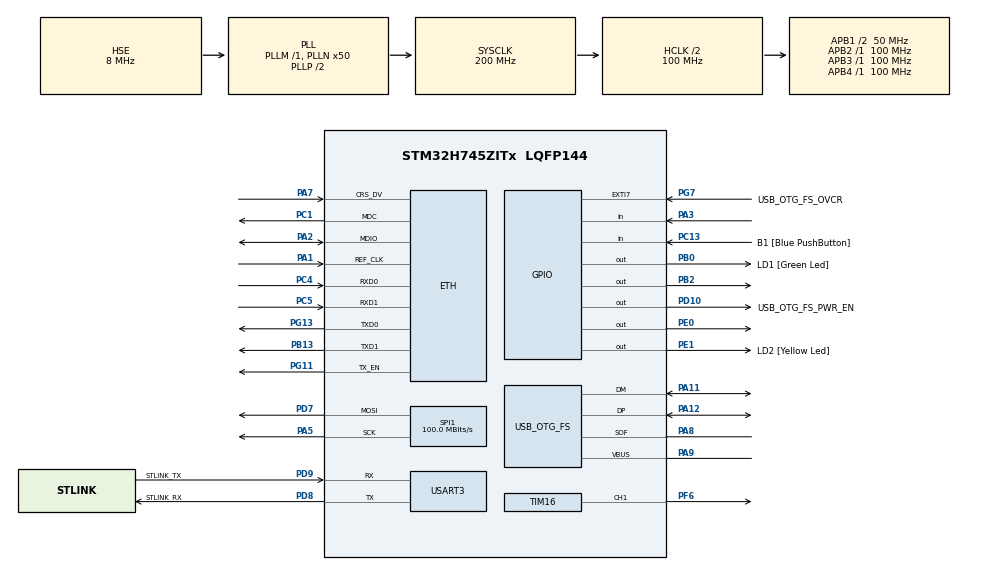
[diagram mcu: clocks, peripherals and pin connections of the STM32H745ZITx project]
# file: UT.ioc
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CortexM4.IPs=FATFS_M4\:I,FREERTOS_M4\:I,IWDG2\:I,RCC,WWDG2\:I,DMA,BDMA,MDMA,NVIC2\:I,USART3,ETH,DEBUG,USB_DEVICE_M4\:I,USB_HOST_M4\:I,PDM2PCM_M4\:I,PWR,RESMGR_UTILITY,SYS_M4\:I,CORTEX_M4\:I,OPENAMP_M4\:I,VREFBUF,GPIO
CortexM7.IPs=FATFS_M7\:I,FREERTOS_M7\:I,IWDG1\:I,RCC\:I,WWDG1\:I,DMA\:I,BDMA\:I,MDMA\:I,NVIC1\:I,SYS\:I,USART3\:I,USB_OTG_FS\:I,ETH\:I,CORTEX_M7\:I,DEBUG\:I,USB_DEVICE_M7\:I,USB_HOST_M7\:I,PDM2PCM_M7\:I,PWR\:I,RESMGR_UTILITY\:I,OPENAMP_M7\:I,VREFBUF\:I,GPIO\:I,TIM16\:I,CRC\:I,SPI1\:I
ETH.MediaInterface=HAL_ETH_RMII_MODE
Mcu.Family=STM32H7
Mcu.Name=STM32H745ZITx
Mcu.Package=LQFP144
NVIC1.PriorityGroup=NVIC_PRIORITYGROUP_4
NVIC1.TIM16_IRQn=true\:0\:0\:false\:false\:true\:true\:true\:true
NVIC2.PriorityGroup=NVIC_PRIORITYGROUP_4
PA1.Mode=RMII
PA1.PinAttribute=CortexM7
PA1.Signal=ETH_REF_CLK
PA11.Mode=Device_Only
PA11.PinAttribute=CortexM7
PA11.Signal=USB_OTG_FS_DM
PA12.Mode=Device_Only
PA12.PinAttribute=CortexM7
PA12.Signal=USB_OTG_FS_DP
PA2.Mode=RMII
PA2.PinAttribute=CortexM7
PA2.Signal=ETH_MDIO
PA3.PinAttribute=Free
PA3.Signal=GPIO_Input
PA5.Mode=TX_Only_Simplex_Unidirect_Master
PA5.PinAttribute=CortexM7
PA5.Signal=SPI1_SCK
PA7.Mode=RMII
PA7.PinAttribute=CortexM7
PA7.Signal=ETH_CRS_DV
PA8.Mode=Activate_SOF_FS
PA8.PinAttribute=CortexM7
PA8.Signal=USB_OTG_FS_SOF
PA9.Mode=Activate_VBUS
PA9.PinAttribute=CortexM7
PA9.Signal=USB_OTG_FS_VBUS
PB0.GPIO_Label=LD1 [Green Led]
PB0.PinAttribute=Free
PB0.Signal=GPIO_Output
PB13.Mode=RMII
PB13.PinAttribute=CortexM7
PB13.Signal=ETH_TXD1
PB14.Signal=S_TIM12_CH1
PB2.PinAttribute=Free
PB2.Signal=GPIO_Output
PC1.Mode=RMII
PC1.PinAttribute=CortexM7
PC1.Signal=ETH_MDC
PC13.GPIO_Label=B1 [Blue PushButton]
PC13.PinAttribute=Free
PC13.Signal=GPIO_Input
PC14-OSC32_IN\ (OSC32_IN).Mode=LSE-External-Oscillator
PC14-OSC32_IN\ (OSC32_IN).PinAttribute=CortexM7
PC14-OSC32_IN\ (OSC32_IN).Signal=RCC_OSC32_IN
PC15-OSC32_OUT\ (OSC32_OUT).Mode=LSE-External-Oscillator
PC15-OSC32_OUT\ (OSC32_OUT).PinAttribute=CortexM7
PC15-OSC32_OUT\ (OSC32_OUT).Signal=RCC_OSC32_OUT
PC4.Mode=RMII
PC4.PinAttribute=CortexM7
PC4.Signal=ETH_RXD0
PC5.Mode=RMII
PC5.PinAttribute=CortexM7
PC5.Signal=ETH_RXD1
PD10.GPIO_Label=USB_OTG_FS_PWR_EN
PD10.PinAttribute=Free
PD10.Signal=GPIO_Output
PD7.Mode=TX_Only_Simplex_Unidirect_Master
PD7.PinAttribute=CortexM7
PD7.Signal=SPI1_MOSI
PD8.GPIO_Label=STLINK_RX
PD8.Mode=Asynchronous
PD8.PinAttribute=CortexM7
PD8.Signal=USART3_TX
PD9.GPIO_Label=STLINK_TX
PD9.Mode=Asynchronous
PD9.PinAttribute=CortexM7
PD9.Signal=USART3_RX
PE0.PinAttribute=Free
PE0.Signal=GPIO_Output
PE1.GPIO_Label=LD2 [Yellow Led]
PE1.PinAttribute=Free
PE1.Signal=GPIO_Output
PF6.PinAttribute=CortexM7
PF6.Signal=S_TIM16_CH1
PG11.Mode=RMII
PG11.PinAttribute=CortexM7
PG11.Signal=ETH_TX_EN
PG13.Mode=RMII
PG13.PinAttribute=CortexM7
PG13.Signal=ETH_TXD0
PG7.GPIO_Label=USB_OTG_FS_OVCR
PG7.PinAttribute=Free
PG7.Signal=GPXTI7
PH0-OSC_IN\ (PH0).Mode=HSE-External-Clock-Source
PH0-OSC_IN\ (PH0).PinAttribute=CortexM7
PH0-OSC_IN\ (PH0).Signal=RCC_OSC_IN
PH1-OSC_OUT\ (PH1).PinAttribute=CortexM7
PH1-OSC_OUT\ (PH1).Signal=RCC_OSC_OUT
ProjectManager.HeapSize=M4-0x200,M7-0x200
ProjectManager.StackSize=M4-0x400,M7-0x400
ProjectManager.TargetToolchain=STM32CubeIDE
RCC.ADCFreq_Value=16125000
RCC.APB1Freq_Value=50000000
RCC.APB2Freq_Value=100000000
RCC.APB3Freq_Value=100000000
RCC.APB4Freq_Value=100000000
RCC.CortexFreq_Value=200000000
RCC.D2PPRE1=RCC_APB1_DIV2
RCC.DIVM1=1
RCC.DIVM3=1
RCC.DIVN1=50
RCC.DIVN3=18
RCC.DIVQ3=3
RCC.HCLKFreq_Value=100000000
RCC.HPRE=RCC_HCLK_DIV2
RCC.HSE_VALUE=8000000
RCC.PLL2FRACN=0
RCC.PLL3FRACN=6144
RCC.PLLFRACN=0
RCC.SYSCLKFreq_VALUE=200000000
RCC.SYSCLKSource=RCC_SYSCLKSOURCE_PLLCLK
RCC.SupplySource=PWR_DIRECT_SMPS_SUPPLY
RCC.USBCLockSelection=RCC_USBCLKSOURCE_PLL3
RCC.USBFreq_Value=50000000
SH.S_TIM12_CH1.0=TIM12_CH1
SH.S_TIM16_CH1.0=TIM16_CH1,PWM Generation1 CH1
SPI1.CalculateBaudRate=100.0 MBits/s
SPI1.DataSize=SPI_DATASIZE_8BIT
SPI1.Direction=SPI_DIRECTION_2LINES_TXONLY
SPI1.Mode=SPI_MODE_MASTER
SPI1.VirtualType=VM_MASTER
TIM16.AutoReloadPreload=TIM_AUTORELOAD_PRELOAD_ENABLE
TIM16.Channel=TIM_CHANNEL_1
TIM16.OCFastMode_PWM=TIM_OCFAST_ENABLE
TIM16.OCPolarity_1=TIM_OCPOLARITY_LOW
TIM16.Period=10000-1
TIM16.Prescaler=1-1
TIM16.Pulse=500-1
USART3.VirtualMode-Asynchronous=VM_ASYNC
USB_OTG_FS.VirtualMode=Device_Only
VP_CRC_VS_CRC.Mode=CRC_Activate
VP_SYS_M4_VS_Systick.Mode=SysTick
VP_TIM16_VS_ClockSourceINT.Mode=Enable_Timer
board=NUCLEO-H745ZI-Q

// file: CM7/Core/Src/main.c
/* USER CODE BEGIN Header */
/**
  ******************************************************************************
  * @file           : main.c
  * @brief          : Main program body
  ******************************************************************************
  * @attention
  *
  * Copyright (c) 2023 STMicroelectronics.
  * All rights reserved.
  *
  * This software is licensed under terms that can be found in the LICENSE file
  * in the root directory of this software component.
  * If no LICENSE file comes with this software, it is provided AS-IS.
  *
  ******************************************************************************
  */
/* USER CODE END Header */
#include "main.h"
#include "string.h"

/* USER CODE BEGIN Includes */
#include <stdint.h>
#include <stdio.h>
/* USER CODE END Includes */

/* USER CODE BEGIN PD */

#ifndef HSEM_ID_0
#define HSEM_ID_0 (0U) /* HW semaphore 0*/
#endif

/* USER CODE END PD */

/* USER CODE BEGIN PM */
#define CRC_SIZE 4
/* USER CODE END PM */

#if defined ( __ICCARM__ ) /*!< IAR Compiler */
#pragma location=0x30000000
ETH_DMADescTypeDef  DMARxDscrTab[ETH_RX_DESC_CNT]; /* Ethernet Rx DMA Descriptors */
#pragma location=0x30000200
ETH_DMADescTypeDef  DMATxDscrTab[ETH_TX_DESC_CNT]; /* Ethernet Tx DMA Descriptors */

#elif defined ( __CC_ARM )  /* MDK ARM Compiler */

__attribute__((at(0x30000000))) ETH_DMADescTypeDef  DMARxDscrTab[ETH_RX_DESC_CNT]; /* Ethernet Rx DMA Descriptors */
__attribute__((at(0x30000200))) ETH_DMADescTypeDef  DMATxDscrTab[ETH_TX_DESC_CNT]; /* Ethernet Tx DMA Descriptors */

#elif defined ( __GNUC__ ) /* GNU Compiler */
ETH_DMADescTypeDef DMARxDscrTab[ETH_RX_DESC_CNT] __attribute__((section(".RxDecripSection"))); /* Ethernet Rx DMA Descriptors */
ETH_DMADescTypeDef DMATxDscrTab[ETH_TX_DESC_CNT] __attribute__((section(".TxDecripSection")));   /* Ethernet Tx DMA Descriptors */

#endif

ETH_TxPacketConfig TxConfig;

CRC_HandleTypeDef hcrc;

ETH_HandleTypeDef heth;

SPI_HandleTypeDef hspi1;

TIM_HandleTypeDef htim16;

UART_HandleTypeDef huart3;

PCD_HandleTypeDef hpcd_USB_OTG_FS;

void SystemClock_Config(void);
static void MX_GPIO_Init(void);
static void MX_ETH_Init(void);
static void MX_USART3_UART_Init(void);
static void MX_USB_OTG_FS_PCD_Init(void);
static void MX_TIM16_Init(void);
static void MX_CRC_Init(void);
static void MX_SPI1_Init(void);

/* USER CODE BEGIN 0 */
TIM_HandleTypeDef htim;
GPIO_InitTypeDef GPIO_InitStruct;
uint8_t bitPosition = 0;    // Bit position tracker
uint8_t bytePosition = 0;
GPIO_PinState send_frame = GPIO_PIN_RESET;
start_bits = 0;
uint32_t startCycle, endCycle, cycleCount;
//GPIO_PinState packet_ready = GPIO_PIN_RESET;
// Ethernet frame structure
typedef struct {
    uint8_t preamble[7]; // Preamble bytes
    uint8_t sfd;
    uint8_t destMac[6];
    uint8_t srcMac[6];
    uint16_t etherType;
    uint8_t payload[2]; // Maximum payload size
    uint32_t crc;
    //uint32_t crc;          // CRC (Cyclic Redundancy Check)
} EthernetFrame;

uint8_t dataToSend[sizeof(EthernetFrame)];

uint32_t DWT_GetCycleCount(void) {
    return DWT->CYCCNT;
}

void HAL_GPIO_EXTI_Callback(uint16_t GPIO_Pin) {
//	printf("here\n");
	DWT->CYCCNT = 0;
	DWT->CTRL |= DWT_CTRL_CYCCNTENA_Msk;
	startCycle = DWT->CYCCNT;

	    // Command or operation to measure

    if (GPIO_Pin == GPIO_PIN_6 && send_frame == GPIO_PIN_SET) { // Pin PF6 (change to the actual pin)
        // Perform your desired action here upon the rising edge of the clock signal
        // For example, toggle or set/clear the state of another GPIO pin
//    	 HAL_GPIO_WritePin(GPIOB, GPIO_PIN_2, (dataToSend[bytePosition] >> bitPosition) & 0x01);
//    	 // Toggle the clock pin to generate a clock pulse
//    	 // Move to the next bit position
//    	 bitPosition++;
//
//    	 if (bitPosition >= 8) {
//    	             bitPosition = 0;  // Reset the bit position for the next transmission
//    	             bytePosition++;
//    	         }

    	if(start_bits < 2){
    		start_bits++;
    		HAL_GPIO_WritePin(GPIOB, GPIO_PIN_2, GPIO_PIN_RESET);
    	}
    	else{
    		HAL_TIM_Base_Stop_IT(&htim16);
       	 if(bytePosition >= sizeof(EthernetFrame)){
   //    		 bitPosition = 0;  // Reset the bit position for the next transmission
   //    		 bytePosition = 0;
       		 HAL_GPIO_WritePin(GPIOB, GPIO_PIN_2, GPIO_PIN_RESET);
       	 }
       	 else{
           	 HAL_GPIO_WritePin(GPIOB, GPIO_PIN_2, (dataToSend[bytePosition] >> bitPosition) & 0x01);
           	 // Move to the next bit position
           	 bitPosition++;
           	 bytePosition += bitPosition/8;
           	 bitPosition = bitPosition%8;

   //
   //        	 if (bitPosition >= 8) {
   //        	             bitPosition = 0;  // Reset the bit position for the next transmission
   //        	             bytePosition++;
   //        	         }
       	 }

//           HAL_GPIO_TogglePin(GPIOB, GPIO_PIN_2); // Replace with your desired GPIO pin and action
 	    // Measure cycle count after the command
// 	    uint32_t endCycle = DWT_GetCycleCount();
// 	    uint32_t cycleCount = endCycle - startCycle;
       	 HAL_TIM_Base_Start_IT(&htim16);
         endCycle = DWT->CYCCNT;

          	    cycleCount = endCycle - startCycle;
          	    printf("Total cyc = %u\n", cycleCount);

    	}
// 	    uint32_t endCycle = DWT_GetCycleCount();
// 	    uint32_t cycleCount = endCycle - startCycle;
// 	    printf("Total cyc = %u\n", cycleCount);
//    	 if(bytePosition >= sizeof(EthernetFrame)){
////    		 bitPosition = 0;  // Reset the bit position for the next transmission
////    		 bytePosition = 0;
//    		 HAL_GPIO_WritePin(GPIOB, GPIO_PIN_2, GPIO_PIN_RESET);
//    	 }
//    	 else{
//        	 HAL_GPIO_WritePin(GPIOB, GPIO_PIN_2, (dataToSend[bytePosition] >> bitPosition) & 0x01);
//        	 // Toggle the clock pin to generate a clock pulse
//        	 // Move to the next bit position
//        	 bitPosition++;
//        	 bytePosition += bitPosition/8;
//        	 bitPosition = bitPosition%8;
//
//
////
////        	 if (bitPosition >= 8) {
////        	             bitPosition = 0;  // Reset the bit position for the next transmission
////        	             bytePosition++;
////        	         }
//    	 }
//
//        HAL_GPIO_TogglePin(GPIOB, GPIO_PIN_2); // Replace with your desired GPIO pin and action
    }
    startCycle = DWT->CYCCNT;

    if (GPIO_Pin == GPIO_PIN_13 && send_frame == GPIO_PIN_RESET) { // Pin PC13 (change to the actual pin)
        // Perform your desired action here upon the rising edge of the clock signal
        // For example, toggle or set/clear the state of another GPIO pin
        HAL_GPIO_TogglePin(GPIOB, GPIO_PIN_0); // Replace with your desired GPIO pin and action
        HAL_GPIO_WritePin(GPIOA, GPIO_PIN_3, GPIO_PIN_SET);
        send_frame = GPIO_PIN_SET;
        HAL_GPIO_WritePin(GPIOA, GPIO_PIN_3, GPIO_PIN_RESET);
    }
//    endCycle = DWT->CYCCNT;
//
//    cycleCount = endCycle - startCycle;
//         	    printf("pressed button if cyc = %u\n", cycleCount);

//    uint32_t endCycle = DWT->CYCCNT;
//
//     	    uint32_t cycleCount = endCycle - startCycle;
//     	    printf("Total cyc = %u\n", cycleCount);
}

uint8_t* constructEthernetPacket(
    const uint8_t* srcMac,
    const uint8_t* destMac,
    uint16_t etherType,
    const uint8_t* payload
) {
    static EthernetFrame frame;
    uint8_t dataToCrc[sizeof(EthernetFrame) - CRC_SIZE];
    memset(&frame, 0, sizeof(EthernetFrame)); // Clear the frame structure

    // Set preamble and SFD (Start of Frame Delimiter)
    for (int i = 0; i < 7; i++) {
        frame.preamble[i] = 0xAA; // Preamble pattern
//    	frame.preamble[i] = 0xFF; // Preamble pattern
    }
    frame.sfd = 0xAB; // SFD pattern

    // Set source and destination MAC addresses
    memcpy(frame.destMac, destMac, 6);
    memcpy(frame.srcMac, srcMac, 6);

    // Set EtherType
    frame.etherType = etherType;

    // Set payload
    memcpy(frame.payload, payload, 2);

    __HAL_RCC_CRC_CLK_ENABLE();
      hcrc.Instance = CRC;
      hcrc.Init.DefaultPolynomialUse = DEFAULT_POLYNOMIAL_ENABLE;
      hcrc.Init.DefaultInitValueUse = DEFAULT_INIT_VALUE_ENABLE;
      hcrc.Init.InputDataInversionMode = CRC_INPUTDATA_INVERSION_BYTE;
      hcrc.Init.OutputDataInversionMode = CRC_OUTPUTDATA_INVERSION_ENABLE;
      hcrc.InputDataFormat = CRC_INPUTDATA_FORMAT_BYTES;

       if (HAL_CRC_Init(&hcrc) != HAL_OK)
       {
         /* Initialization Error */
         Error_Handler();
       }
       memcpy(dataToCrc, &frame, sizeof(EthernetFrame));
       frame.crc = HAL_CRC_Calculate(&hcrc, (uint32_t *)dataToCrc, sizeof(frame) - CRC_SIZE );
       frame.crc = ~(frame.crc);

    // Return the constructed Ethernet frame as a uint8_t array
    return (uint8_t*)&frame;
}

/* USER CODE END 0 */

int main(void)
{
  /* USER CODE BEGIN 1 */
	GPIO_Config();
	uint16_t timer_val;
	DWT_Init();
  /* USER CODE END 1 */
/* USER CODE BEGIN Boot_Mode_Sequence_0 */
  int32_t timeout;
/* USER CODE END Boot_Mode_Sequence_0 */

/* USER CODE BEGIN Boot_Mode_Sequence_1 */
  /* Wait until CPU2 boots and enters in stop mode or timeout*/
//  timeout = 0xFFFF;
//  while((__HAL_RCC_GET_FLAG(RCC_FLAG_D2CKRDY) != RESET) && (timeout-- > 0));
//  if ( timeout < 0 )
//  {
//  Error_Handler();
//  }
/* USER CODE END Boot_Mode_Sequence_1 */
  /* MCU Configuration--------------------------------------------------------*/

  /* Reset of all peripherals, Initializes the Flash interface and the Systick. */
  HAL_Init();

  /* USER CODE BEGIN Init */

  uint8_t destMac[] = {0x01, 0x2, 0x3, 0x4, 0x5, 0x6};
  uint8_t srcMac[] = {0x00, 0x00, 0x00, 0xE1, 0x80, 0x00};
//  uint8_t destMac[] = {0x0, 0x0, 0x0, 0x0, 0x0, 0x0};
//    uint8_t srcMac[] = {0x0, 0x0, 0x0, 0x0, 0x0, 0x0};
  EthernetFrame frame;
  uint8_t preamble_arr[] = {0xAA, 0xAA, 0xAA, 0xAA, 0xAA, 0xAA, 0xAA};
  memcpy(frame.preamble, preamble_arr, sizeof(preamble_arr)); // AA is the alternating pattern
//  memset(frame.preamble, 0x0, sizeof(frame.preamble)); // AA is the alternating pattern
  frame.sfd = 0xAB;
//  frame.sfd = 0x0;
  memcpy(frame.destMac, destMac, sizeof(destMac));
  memcpy(frame.srcMac, srcMac, sizeof(srcMac));
  frame.etherType = 0x0800; // IPv4 EtherType (0x0800)
//  frame.etherType = 0x0; // IPv4 EtherType (0x0800)
  memset(frame.payload, 0, sizeof(frame.payload)); // Fill payload with zeros
  // Send the Ethernet frame
//  uint16_t payloadSize = sizeof(frame.payload); // Example payload size
  // Copy the EthernetFrame to dataToSend
//  memcpy(dataToSend, &frame, sizeof(EthernetFrame));

  uint8_t* ethernetPacket = constructEthernetPacket(srcMac, destMac, frame.etherType, frame.payload);
  memcpy(dataToSend, ethernetPacket, sizeof(EthernetFrame));

//  __HAL_RCC_CRC_CLK_ENABLE();
//  hcrc.Instance = CRC;
//  hcrc.Init.DefaultPolynomialUse = DEFAULT_POLYNOMIAL_ENABLE;
//  hcrc.Init.DefaultInitValueUse = DEFAULT_INIT_VALUE_ENABLE;
//  hcrc.Init.InputDataInversionMode = CRC_INPUTDATA_INVERSION_BYTE;
//  hcrc.Init.OutputDataInversionMode = CRC_OUTPUTDATA_INVERSION_ENABLE;
//  hcrc.InputDataFormat = CRC_INPUTDATA_FORMAT_BYTES;
//
//   if (HAL_CRC_Init(&hcrc) != HAL_OK)
//   {
//     /* Initialization Error */
//     Error_Handler();
//   }
//
//   frame.crc = HAL_CRC_Calculate(&hcrc, (uint32_t *)dataToSend, sizeof(dataToSend) - CRC_SIZE );
//   frame.crc = ~(frame.crc);

  __HAL_RCC_GPIOF_CLK_ENABLE(); // Enable clock for GPIOF
     GPIO_InitTypeDef GPIO_InitStruct;
     GPIO_InitStruct.Pin = GPIO_PIN_6; // Pin PF6 (change to the actual pin)
     GPIO_InitStruct.Mode = GPIO_MODE_IT_RISING; // Interrupt on rising edge
     GPIO_InitStruct.Pull = GPIO_NOPULL; // No pull-up/pull-down
     HAL_GPIO_Init(GPIOF, &GPIO_InitStruct);

     __HAL_RCC_GPIOB_CLK_ENABLE(); // Enable clock for GPIOF
 	GPIO_InitTypeDef GPIOB_init = {};
 	GPIOB_init.Pin = GPIO_PIN_2;
 	GPIOB_init.Mode = GPIO_MODE_OUTPUT_PP;
 	HAL_GPIO_Init(GPIOB, &GPIOB_init);

 	 __HAL_RCC_GPIOA_CLK_ENABLE(); // Enable clock for GPIOF
 	GPIO_InitTypeDef GPIOA_InitStruct;
	 GPIOA_InitStruct.Pin = GPIO_PIN_3; // Pin PA3 (change to the actual pin)
	 GPIOA_InitStruct.Mode = GPIO_MODE_OUTPUT_PP; // Interrupt on rising edge
	 GPIOA_InitStruct.Pull = GPIO_NOPULL; // No pull-up/pull-down
	  HAL_GPIO_Init(GPIOA, &GPIOA_InitStruct);

     // Enable the external interrupt
     HAL_NVIC_SetPriority(EXTI9_5_IRQn, 0, 0); // EXTI9_5_IRQn is for PF6 (change as needed)
     HAL_NVIC_EnableIRQ(EXTI9_5_IRQn);
//     HAL_NVIC_DisableIRQ(EXTI9_5_IRQn);

     HAL_NVIC_SetPriority(EXTI15_10_IRQn, 0, 0); // EXTI15_10_IRQn is for PC13 (push button)
     HAL_NVIC_EnableIRQ(EXTI15_10_IRQn);

  /* USER CODE END Init */

  /* Configure the system clock */
  SystemClock_Config();
/* USER CODE BEGIN Boot_Mode_Sequence_2 */
/* When system initialization is finished, Cortex-M7 will release Cortex-M4 by means of
HSEM notification */
/*HW semaphore Clock enable*/
//__HAL_RCC_HSEM_CLK_ENABLE();
///*Take HSEM */
//HAL_HSEM_FastTake(HSEM_ID_0);
///*Release HSEM in order to notify the CPU2(CM4)*/
//HAL_HSEM_Release(HSEM_ID_0,0);
///* wait until CPU2 wakes up from stop mode */
//timeout = 0xFFFF;
//while((__HAL_RCC_GET_FLAG(RCC_FLAG_D2CKRDY) == RESET) && (timeout-- > 0));
//if ( timeout < 0 )
//{
//Error_Handler();
//}
/* USER CODE END Boot_Mode_Sequence_2 */

  /* Initialize all configured peripherals */
  MX_GPIO_Init();
  MX_ETH_Init();
  MX_USART3_UART_Init();
  MX_USB_OTG_FS_PCD_Init();
  MX_TIM16_Init();
  MX_CRC_Init();
  MX_SPI1_Init();
  /* USER CODE BEGIN 2 */
HAL_TIM_PWM_Start(&htim16, TIM_CHANNEL_1);
  /* USER CODE END 2 */

  /* Infinite loop */
  while (1)
  {

    /* USER CODE BEGIN 3 */
//	  timer_val = __HAL_TIM_GET_COUNTER(&htim16);
//	  HAL_Delay(1000);
//	  timer_val = __HAL_TIM_GET_COUNTER(&htim16);
//	  if(HAL_GPIO_ReadPin(GPIOC, GPIO_PIN_13)){
//      HAL_GPIO_TogglePin(GPIOB, GPIO_PIN_0); // Replace with your desired GPIO pin and action
//	  }

  }
  /* USER CODE END 3 */
}

void SystemClock_Config(void)
{
  RCC_OscInitTypeDef RCC_OscInitStruct = {0};
  RCC_ClkInitTypeDef RCC_ClkInitStruct = {0};

  /** Supply configuration update enable
  */
  HAL_PWREx_ConfigSupply(PWR_DIRECT_SMPS_SUPPLY);

  /** Configure the main internal regulator output voltage
  */
  __HAL_PWR_VOLTAGESCALING_CONFIG(PWR_REGULATOR_VOLTAGE_SCALE3);

  while(!__HAL_PWR_GET_FLAG(PWR_FLAG_VOSRDY)) {}

  /** Initializes the RCC Oscillators according to the specified parameters
  * in the RCC_OscInitTypeDef structure.
  */
  RCC_OscInitStruct.OscillatorType = RCC_OSCILLATORTYPE_HSE;
  RCC_OscInitStruct.HSEState = RCC_HSE_BYPASS;
  RCC_OscInitStruct.PLL.PLLState = RCC_PLL_ON;
  RCC_OscInitStruct.PLL.PLLSource = RCC_PLLSOURCE_HSE;
  RCC_OscInitStruct.PLL.PLLM = 1;
  RCC_OscInitStruct.PLL.PLLN = 50;
  RCC_OscInitStruct.PLL.PLLP = 2;
  RCC_OscInitStruct.PLL.PLLQ = 2;
  RCC_OscInitStruct.PLL.PLLR = 2;
  RCC_OscInitStruct.PLL.PLLRGE = RCC_PLL1VCIRANGE_3;
  RCC_OscInitStruct.PLL.PLLVCOSEL = RCC_PLL1VCOWIDE;
  RCC_OscInitStruct.PLL.PLLFRACN = 0;
  if (HAL_RCC_OscConfig(&RCC_OscInitStruct) != HAL_OK)
  {
    Error_Handler();
  }

  /** Initializes the CPU, AHB and APB buses clocks
  */
  RCC_ClkInitStruct.ClockType = RCC_CLOCKTYPE_HCLK|RCC_CLOCKTYPE_SYSCLK
                              |RCC_CLOCKTYPE_PCLK1|RCC_CLOCKTYPE_PCLK2
                              |RCC_CLOCKTYPE_D3PCLK1|RCC_CLOCKTYPE_D1PCLK1;
  RCC_ClkInitStruct.SYSCLKSource = RCC_SYSCLKSOURCE_PLLCLK;
  RCC_ClkInitStruct.SYSCLKDivider = RCC_SYSCLK_DIV1;
  RCC_ClkInitStruct.AHBCLKDivider = RCC_HCLK_DIV2;
  RCC_ClkInitStruct.APB3CLKDivider = RCC_APB3_DIV1;
  RCC_ClkInitStruct.APB1CLKDivider = RCC_APB1_DIV2;
  RCC_ClkInitStruct.APB2CLKDivider = RCC_APB2_DIV1;
  RCC_ClkInitStruct.APB4CLKDivider = RCC_APB4_DIV1;

  if (HAL_RCC_ClockConfig(&RCC_ClkInitStruct, FLASH_LATENCY_2) != HAL_OK)
  {
    Error_Handler();
  }
}

static void MX_CRC_Init(void)
{

  hcrc.Instance = CRC;
  hcrc.Init.DefaultPolynomialUse = DEFAULT_POLYNOMIAL_ENABLE;
  hcrc.Init.DefaultInitValueUse = DEFAULT_INIT_VALUE_ENABLE;
  hcrc.Init.InputDataInversionMode = CRC_INPUTDATA_INVERSION_NONE;
  hcrc.Init.OutputDataInversionMode = CRC_OUTPUTDATA_INVERSION_DISABLE;
  hcrc.InputDataFormat = CRC_INPUTDATA_FORMAT_BYTES;
  if (HAL_CRC_Init(&hcrc) != HAL_OK)
  {
    Error_Handler();
  }

}

static void MX_ETH_Init(void)
{

   static uint8_t MACAddr[6];

  heth.Instance = ETH;
  MACAddr[0] = 0x00;
  MACAddr[1] = 0x80;
  MACAddr[2] = 0xE1;
  MACAddr[3] = 0x00;
  MACAddr[4] = 0x00;
  MACAddr[5] = 0x00;
  heth.Init.MACAddr = &MACAddr[0];
  heth.Init.MediaInterface = HAL_ETH_RMII_MODE;
  heth.Init.TxDesc = DMATxDscrTab;
  heth.Init.RxDesc = DMARxDscrTab;
  heth.Init.RxBuffLen = 1524;

  if (HAL_ETH_Init(&heth) != HAL_OK)
  {
    Error_Handler();
  }

  memset(&TxConfig, 0 , sizeof(ETH_TxPacketConfig));
  TxConfig.Attributes = ETH_TX_PACKETS_FEATURES_CSUM | ETH_TX_PACKETS_FEATURES_CRCPAD;
  TxConfig.ChecksumCtrl = ETH_CHECKSUM_IPHDR_PAYLOAD_INSERT_PHDR_CALC;
  TxConfig.CRCPadCtrl = ETH_CRC_PAD_INSERT;

}

static void MX_SPI1_Init(void)
{

  /* SPI1 parameter configuration*/
  hspi1.Instance = SPI1;
  hspi1.Init.Mode = SPI_MODE_MASTER;
  hspi1.Init.Direction = SPI_DIRECTION_2LINES_TXONLY;
  hspi1.Init.DataSize = SPI_DATASIZE_8BIT;
  hspi1.Init.CLKPolarity = SPI_POLARITY_LOW;
  hspi1.Init.CLKPhase = SPI_PHASE_1EDGE;
  hspi1.Init.NSS = SPI_NSS_SOFT;
  hspi1.Init.BaudRatePrescaler = SPI_BAUDRATEPRESCALER_2;
  hspi1.Init.FirstBit = SPI_FIRSTBIT_MSB;
  hspi1.Init.TIMode = SPI_TIMODE_DISABLE;
  hspi1.Init.CRCCalculation = SPI_CRCCALCULATION_DISABLE;
  hspi1.Init.CRCPolynomial = 0x0;
  hspi1.Init.NSSPMode = SPI_NSS_PULSE_ENABLE;
  hspi1.Init.NSSPolarity = SPI_NSS_POLARITY_LOW;
  hspi1.Init.FifoThreshold = SPI_FIFO_THRESHOLD_01DATA;
  hspi1.Init.TxCRCInitializationPattern = SPI_CRC_INITIALIZATION_ALL_ZERO_PATTERN;
  hspi1.Init.RxCRCInitializationPattern = SPI_CRC_INITIALIZATION_ALL_ZERO_PATTERN;
  hspi1.Init.MasterSSIdleness = SPI_MASTER_SS_IDLENESS_00CYCLE;
  hspi1.Init.MasterInterDataIdleness = SPI_MASTER_INTERDATA_IDLENESS_00CYCLE;
  hspi1.Init.MasterReceiverAutoSusp = SPI_MASTER_RX_AUTOSUSP_DISABLE;
  hspi1.Init.MasterKeepIOState = SPI_MASTER_KEEP_IO_STATE_DISABLE;
  hspi1.Init.IOSwap = SPI_IO_SWAP_DISABLE;
  if (HAL_SPI_Init(&hspi1) != HAL_OK)
  {
    Error_Handler();
  }

}

static void MX_TIM16_Init(void)
{

  TIM_OC_InitTypeDef sConfigOC = {0};
  TIM_BreakDeadTimeConfigTypeDef sBreakDeadTimeConfig = {0};

  htim16.Instance = TIM16;
  htim16.Init.Prescaler = 1-1;
  htim16.Init.CounterMode = TIM_COUNTERMODE_UP;
  htim16.Init.Period = 10000-1;
  htim16.Init.ClockDivision = TIM_CLOCKDIVISION_DIV1;
  htim16.Init.RepetitionCounter = 0;
  htim16.Init.AutoReloadPreload = TIM_AUTORELOAD_PRELOAD_ENABLE;
  if (HAL_TIM_Base_Init(&htim16) != HAL_OK)
  {
    Error_Handler();
  }
  if (HAL_TIM_PWM_Init(&htim16) != HAL_OK)
  {
    Error_Handler();
  }
  sConfigOC.OCMode = TIM_OCMODE_PWM1;
  sConfigOC.Pulse = 500-1;
  sConfigOC.OCPolarity = TIM_OCPOLARITY_LOW;
  sConfigOC.OCNPolarity = TIM_OCNPOLARITY_HIGH;
  sConfigOC.OCFastMode = TIM_OCFAST_ENABLE;
  sConfigOC.OCIdleState = TIM_OCIDLESTATE_RESET;
  sConfigOC.OCNIdleState = TIM_OCNIDLESTATE_RESET;
  if (HAL_TIM_PWM_ConfigChannel(&htim16, &sConfigOC, TIM_CHANNEL_1) != HAL_OK)
  {
    Error_Handler();
  }
  sBreakDeadTimeConfig.OffStateRunMode = TIM_OSSR_DISABLE;
  sBreakDeadTimeConfig.OffStateIDLEMode = TIM_OSSI_DISABLE;
  sBreakDeadTimeConfig.LockLevel = TIM_LOCKLEVEL_OFF;
  sBreakDeadTimeConfig.DeadTime = 0;
  sBreakDeadTimeConfig.BreakState = TIM_BREAK_DISABLE;
  sBreakDeadTimeConfig.BreakPolarity = TIM_BREAKPOLARITY_HIGH;
  sBreakDeadTimeConfig.BreakFilter = 0;
  sBreakDeadTimeConfig.AutomaticOutput = TIM_AUTOMATICOUTPUT_DISABLE;
  if (HAL_TIMEx_ConfigBreakDeadTime(&htim16, &sBreakDeadTimeConfig) != HAL_OK)
  {
    Error_Handler();
  }
  HAL_TIM_MspPostInit(&htim16);

}

static void MX_USART3_UART_Init(void)
{

  huart3.Instance = USART3;
  huart3.Init.BaudRate = 115200;
  huart3.Init.WordLength = UART_WORDLENGTH_8B;
  huart3.Init.StopBits = UART_STOPBITS_1;
  huart3.Init.Parity = UART_PARITY_NONE;
  huart3.Init.Mode = UART_MODE_TX_RX;
  huart3.Init.HwFlowCtl = UART_HWCONTROL_NONE;
  huart3.Init.OverSampling = UART_OVERSAMPLING_16;
  huart3.Init.OneBitSampling = UART_ONE_BIT_SAMPLE_DISABLE;
  huart3.Init.ClockPrescaler = UART_PRESCALER_DIV1;
  huart3.AdvancedInit.AdvFeatureInit = UART_ADVFEATURE_NO_INIT;
  if (HAL_UART_Init(&huart3) != HAL_OK)
  {
    Error_Handler();
  }
  if (HAL_UARTEx_SetTxFifoThreshold(&huart3, UART_TXFIFO_THRESHOLD_1_8) != HAL_OK)
  {
    Error_Handler();
  }
  if (HAL_UARTEx_SetRxFifoThreshold(&huart3, UART_RXFIFO_THRESHOLD_1_8) != HAL_OK)
  {
    Error_Handler();
  }
  if (HAL_UARTEx_DisableFifoMode(&huart3) != HAL_OK)
  {
    Error_Handler();
  }

}

static void MX_USB_OTG_FS_PCD_Init(void)
{

  hpcd_USB_OTG_FS.Instance = USB_OTG_FS;
  hpcd_USB_OTG_FS.Init.dev_endpoints = 9;
  hpcd_USB_OTG_FS.Init.speed = PCD_SPEED_FULL;
  hpcd_USB_OTG_FS.Init.dma_enable = DISABLE;
  hpcd_USB_OTG_FS.Init.phy_itface = PCD_PHY_EMBEDDED;
  hpcd_USB_OTG_FS.Init.Sof_enable = DISABLE;
  hpcd_USB_OTG_FS.Init.low_power_enable = DISABLE;
  hpcd_USB_OTG_FS.Init.lpm_enable = DISABLE;
  hpcd_USB_OTG_FS.Init.battery_charging_enable = ENABLE;
  hpcd_USB_OTG_FS.Init.vbus_sensing_enable = ENABLE;
  hpcd_USB_OTG_FS.Init.use_dedicated_ep1 = DISABLE;
  if (HAL_PCD_Init(&hpcd_USB_OTG_FS) != HAL_OK)
  {
    Error_Handler();
  }

}

static void MX_GPIO_Init(void)
{

  /* GPIO Ports Clock Enable */
  __HAL_RCC_GPIOC_CLK_ENABLE();
  __HAL_RCC_GPIOF_CLK_ENABLE();
  __HAL_RCC_GPIOH_CLK_ENABLE();
  __HAL_RCC_GPIOA_CLK_ENABLE();
  __HAL_RCC_GPIOB_CLK_ENABLE();
  __HAL_RCC_GPIOD_CLK_ENABLE();
  __HAL_RCC_GPIOG_CLK_ENABLE();

}

/* USER CODE BEGIN 4 */
int _write(int file, char *ptr, int len){
	int var;
	for (var = 0; var < len; ++var) {
		ITM_SendChar(*ptr++);
	}
	return len;
}

void DWT_Init(void) {
        DWT->CYCCNT = 0;
        DWT->CTRL |= DWT_CTRL_CYCCNTENA_Msk;
}

void EXTI9_5_IRQHandler(void) {
    HAL_GPIO_EXTI_IRQHandler(GPIO_PIN_6); // Call the HAL handler
}

void EXTI15_10_IRQHandler(void) {
    HAL_GPIO_EXTI_IRQHandler(GPIO_PIN_13); // Call the HAL handler
}

void GPIO_Config(void){
	__HAL_RCC_GPIOB_CLK_ENABLE();
	__HAL_RCC_GPIOC_CLK_ENABLE();
	//__HAL_RCC_GPIOC_CLK_ENABLE();

	GPIO_InitTypeDef GPIOB_init = {};
	GPIOB_init.Pin = GPIO_PIN_2;
	GPIOB_init.Mode = GPIO_MODE_OUTPUT_PP;
	HAL_GPIO_Init(GPIOB, &GPIOB_init);

	GPIO_InitTypeDef GPIOC_init = {};
	GPIOC_init.Pin = GPIO_PIN_13;
	GPIOC_init.Mode = GPIO_MODE_IT_RISING_FALLING;
	HAL_GPIO_Init(GPIOC, &GPIOC_init);

	GPIO_InitTypeDef GPIOB_init1 = {};
	GPIOB_init1.Pin = GPIO_PIN_0;
	GPIOB_init1.Mode = GPIO_MODE_OUTPUT_PP;
	HAL_GPIO_Init(GPIOB, &GPIOB_init1);

}
/* USER CODE END 4 */

void Error_Handler(void)
{
  __disable_irq();
  while (1)
  {
  }
}
